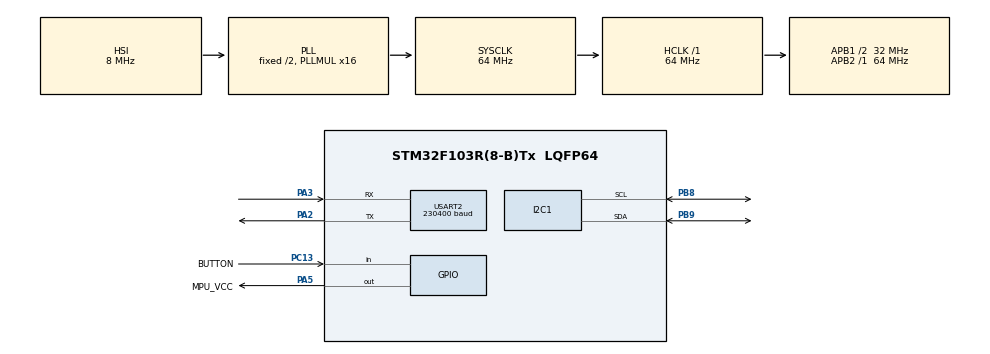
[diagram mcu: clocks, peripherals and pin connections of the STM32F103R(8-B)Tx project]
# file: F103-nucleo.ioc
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Mcu.Family=STM32F1
Mcu.Name=STM32F103R(8-B)Tx
Mcu.Package=LQFP64
NVIC.PriorityGroup=NVIC_PRIORITYGROUP_4
NVIC.TIM1_UP_IRQn=true\:0\:0\:false\:false\:true\:true\:true
NVIC.USART2_IRQn=true\:0\:0\:false\:false\:true\:true\:true
PA13.Mode=Trace_Asynchronous_SW
PA13.Signal=SYS_JTMS-SWDIO
PA14.Mode=Trace_Asynchronous_SW
PA14.Signal=SYS_JTCK-SWCLK
PA2.Mode=Asynchronous
PA2.Signal=USART2_TX
PA3.Mode=Asynchronous
PA3.Signal=USART2_RX
PA5.GPIO_Label=MPU_VCC
PA5.Signal=GPIO_Output
PB3.Mode=Trace_Asynchronous_SW
PB3.Signal=SYS_JTDO-TRACESWO
PB8.Mode=I2C
PB8.Signal=I2C1_SCL
PB9.Mode=I2C
PB9.Signal=I2C1_SDA
PC13-TAMPER-RTC.GPIO_Label=BUTTON
PC13-TAMPER-RTC.Signal=GPIO_Input
ProjectManager.HeapSize=0x200
ProjectManager.StackSize=0x400
ProjectManager.TargetToolchain=STM32CubeIDE
RCC.AHBFreq_Value=64000000
RCC.APB1CLKDivider=RCC_HCLK_DIV2
RCC.APB1Freq_Value=32000000
RCC.APB1TimFreq_Value=64000000
RCC.APB2Freq_Value=64000000
RCC.APB2TimFreq_Value=64000000
RCC.HCLKFreq_Value=64000000
RCC.PLLMUL=RCC_PLL_MUL16
RCC.SYSCLKFreq_VALUE=64000000
RCC.SYSCLKSource=RCC_SYSCLKSOURCE_PLLCLK
RCC.USBFreq_Value=64000000
TIM1.AutoReloadPreload=TIM_AUTORELOAD_PRELOAD_ENABLE
TIM1.CounterMode=TIM_COUNTERMODE_UP
TIM1.Period=999
TIM1.Prescaler=63
USART2.BaudRate=230400
USART2.VirtualMode=VM_ASYNC
VP_TIM1_VS_ClockSourceINT.Mode=Internal
board=custom

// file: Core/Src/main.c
/* USER CODE BEGIN Header */
/**
  ******************************************************************************
  * @file           : main.c
  * @brief          : Main program body
  ******************************************************************************
  * @attention
  *
  * <h2><center>&copy; Copyright (c) 2020 STMicroelectronics.
  * All rights reserved.</center></h2>
  *
  * This software component is licensed by ST under BSD 3-Clause license,
  * the "License"; You may not use this file except in compliance with the
  * License. You may obtain a copy of the License at:
  *                        opensource.org/licenses/BSD-3-Clause
  *
  ******************************************************************************
  */
/* USER CODE END Header */
#include "main.h"
#include "i2c.h"
#include "tim.h"
#include "usart.h"
#include "gpio.h"

/* USER CODE BEGIN Includes */
#include "stdio.h"

#include "../OS/debug/retarget.h"
#include "../OS/scheduler/scheduler.h"
#include "../OS/time.h"
#include "../OS/system_d.h"
/* USER CODE END Includes */

/* USER CODE BEGIN PV */
system_t sys ;
/* USER CODE END PV */

void SystemClock_Config(void);
/* USER CODE BEGIN PFP */
void HAL_UART_TxCpltCallback(UART_HandleTypeDef *huart);
void HAL_TIM_PeriodElapsedCallback(TIM_HandleTypeDef *htim);
/* USER CODE END PFP */

int main(void)
{

  /* MCU Configuration--------------------------------------------------------*/

  /* Reset of all peripherals, Initializes the Flash interface and the Systick. */
  HAL_Init();

  /* Configure the system clock */
  SystemClock_Config();

  /* Initialize all configured peripherals */
  MX_GPIO_Init();
  MX_USART2_UART_Init();
  MX_TIM1_Init();
  MX_I2C1_Init();
  /* USER CODE BEGIN 2 */

  //Init des modules : on fait le lien entre les modules et les structures hal
  LED_SEQUENCE_init(&sys.led, MPU_VCC_GPIO_Port, MPU_VCC_Pin, SEQUENCE_LED_9, 200, 12, FALSE);

  //Init du task manager
  SCHEDULER_init(&sys);

  //Test présence mpu en i2c
  HAL_Delay(500);
  HAL_StatusTypeDef mpu_ok = HAL_I2C_IsDeviceReady(&hi2c1, 0xD0, 2, 5);
  printf("Mpu\t%d\n", mpu_ok);
  HAL_Delay(500000);

  /* USER CODE END 2 */

  /* Infinite loop */
  /* USER CODE BEGIN WHILE */
  while (1)
  {
	  SCHEDULER_run();
    /* USER CODE END WHILE */

  }
}

void SystemClock_Config(void)
{
  RCC_OscInitTypeDef RCC_OscInitStruct = {0};
  RCC_ClkInitTypeDef RCC_ClkInitStruct = {0};

  /** Initializes the RCC Oscillators according to the specified parameters
  * in the RCC_OscInitTypeDef structure.
  */
  RCC_OscInitStruct.OscillatorType = RCC_OSCILLATORTYPE_HSI;
  RCC_OscInitStruct.HSIState = RCC_HSI_ON;
  RCC_OscInitStruct.HSICalibrationValue = RCC_HSICALIBRATION_DEFAULT;
  RCC_OscInitStruct.PLL.PLLState = RCC_PLL_ON;
  RCC_OscInitStruct.PLL.PLLSource = RCC_PLLSOURCE_HSI_DIV2;
  RCC_OscInitStruct.PLL.PLLMUL = RCC_PLL_MUL16;
  if (HAL_RCC_OscConfig(&RCC_OscInitStruct) != HAL_OK)
  {
    Error_Handler();
  }
  /** Initializes the CPU, AHB and APB buses clocks
  */
  RCC_ClkInitStruct.ClockType = RCC_CLOCKTYPE_HCLK|RCC_CLOCKTYPE_SYSCLK
                              |RCC_CLOCKTYPE_PCLK1|RCC_CLOCKTYPE_PCLK2;
  RCC_ClkInitStruct.SYSCLKSource = RCC_SYSCLKSOURCE_PLLCLK;
  RCC_ClkInitStruct.AHBCLKDivider = RCC_SYSCLK_DIV1;
  RCC_ClkInitStruct.APB1CLKDivider = RCC_HCLK_DIV2;
  RCC_ClkInitStruct.APB2CLKDivider = RCC_HCLK_DIV1;

  if (HAL_RCC_ClockConfig(&RCC_ClkInitStruct, FLASH_LATENCY_2) != HAL_OK)
  {
    Error_Handler();
  }
}

/* USER CODE BEGIN 4 */

void HAL_UART_TxCpltCallback(UART_HandleTypeDef *huart)
{
	UNUSED(huart);

}

void HAL_TIM_PeriodElapsedCallback(TIM_HandleTypeDef *htim)
{
	UNUSED(htim);
}

/* USER CODE END 4 */

void Error_Handler(void)
{
  /* USER CODE BEGIN Error_Handler_Debug */
  /* User can add his own implementation to report the HAL error return state */
	printf("error_handler\n");
  /* USER CODE END Error_Handler_Debug */
}

/************************ (C) COPYRIGHT STMicroelectronics *****END OF FILE****/
